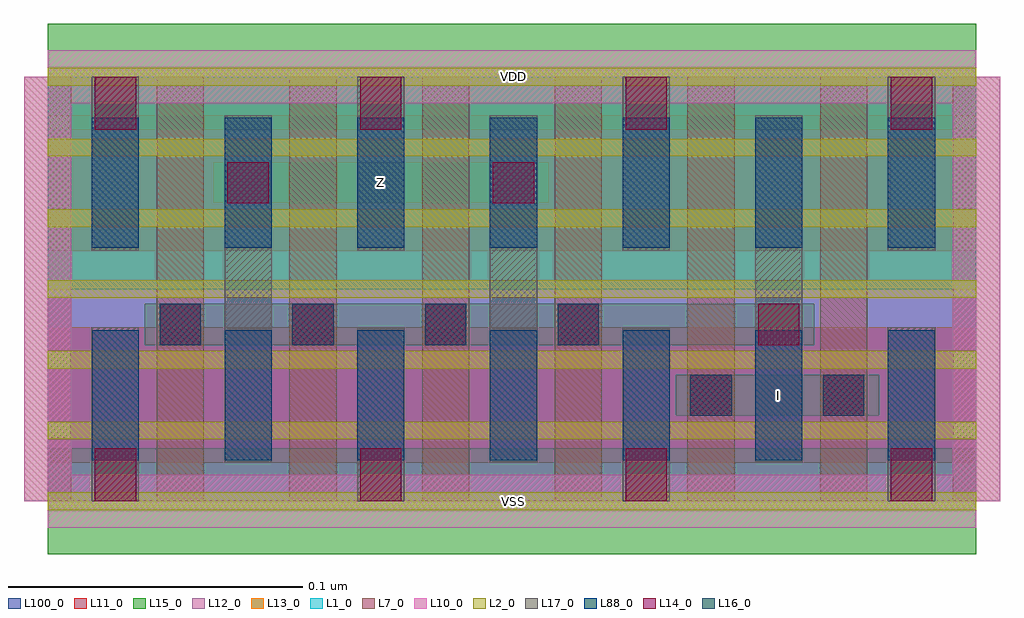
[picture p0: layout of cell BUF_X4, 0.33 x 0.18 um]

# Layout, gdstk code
import gdstk
lib = gdstk.Library(unit=1e-6, precision=1e-09)
def R(c, l, rs):  # rectangles x0, y0, x1, y1
    for r in rs: c.add(gdstk.rectangle(r[:2], r[2:], *l))
def A(c, l, x, y, w, h, nx, ny, dx, dy):  # array of equal rectangles
    R(c, l, [(x+i*dx, y+j*dy, x+i*dx+w, y+j*dy+h) for i in range(nx) for j in range(ny)])
def P(c, l, *ps):  # polygons
    for p in ps: c.add(gdstk.Polygon(p, *l))
L1_0 = (1, 0)
L2_0 = (2, 0)
L7_0 = (7, 0)
L10_0 = (10, 0)
L11_0 = (11, 0)
L12_0 = (12, 0)
L13_0 = (13, 0)
L14_0 = (14, 0)
L15_0 = (15, 0)
L16_0 = (16, 0)
L17_0 = (17, 0)
L88_0 = (88, 0)
L100_0 = (100, 0)

buf_x4 = lib.new_cell('BUF_X4')
R(buf_x4, L1_0, [(0,0.072,0.315,0.144)])
A(buf_x4, L2_0, 0, -0.003, 0.315, 0.006, 1, 7, 0, 0.024)
A(buf_x4, L7_0, -0.008, 0, 0.016, 0.144, 8, 1, 0.045, 0)
P(buf_x4, L10_0, [(0,-0.009),(0,0),(-0.008,0),(-0.008,0.135),(0.008,0.135),(0.008,0.009),(0.307,0.009),(0.307,0.135),(-0.008,0.135),(-0.008,0.144),(0,0.144),(0,0.153),(0.315,0.153),(0.315,0.144),(0.323,0.144),(0.323,0),(0.315,0),(0.315,-0.009)])
R(buf_x4, L11_0, [(0,0.013,0.315,0.059), (0,0.085,0.315,0.131)])
R(buf_x4, L12_0, [(0,0,0.315,0.072)])
R(buf_x4, L13_0, [(0,0.072,0.315,0.144)])
A(buf_x4, L14_0, 0.016, 0, 0.014, 0.018, 4, 2, 0.09, 0.126)
A(buf_x4, L14_0, 0.038, 0.053, 0.014, 0.014, 4, 1, 0.045, 0)
R(buf_x4, L14_0, [(0.218,0.029,0.232,0.043), (0.263,0.029,0.277,0.043), (0.241,0.053,0.255,0.067), (0.061,0.101,0.075,0.115), (0.151,0.101,0.165,0.115)])
R(buf_x4, L15_0, [(0,-0.018,0.315,0.018), (0.213,0.029,0.282,0.043), (0.033,0.053,0.26,0.067), (0.056,0.101,0.17,0.115), (0,0.126,0.315,0.162)])
A(buf_x4, L16_0, 0.038, 0.053, 0.014, 0.014, 4, 1, 0.045, 0)
R(buf_x4, L16_0, [(0.218,0.029,0.232,0.043), (0.263,0.029,0.277,0.043)])
A(buf_x4, L17_0, 0.015, 0, 0.016, 0.059, 4, 2, 0.09, 0.085)
A(buf_x4, L17_0, 0.06, 0.013, 0.016, 0.118, 3, 1, 0.09, 0)
A(buf_x4, L88_0, 0.015, 0.014, 0.016, 0.044, 7, 2, 0.045, 0.072)
R(buf_x4, L100_0, [(0,0,0.315,0.144)])
buf_x4.add(gdstk.Label('I', (0.248,0.036), layer=15, texttype=251))
buf_x4.add(gdstk.Label('VSS', (0.158,0), layer=15, texttype=251))
buf_x4.add(gdstk.Label('VDD', (0.158,0.144), layer=15, texttype=251))
buf_x4.add(gdstk.Label('Z', (0.113,0.108), layer=15, texttype=251))
buf_x4.add(gdstk.Label('VSS', (0.158,0), layer=15, texttype=251))
buf_x4.add(gdstk.Label('VDD', (0.158,0.144), layer=15, texttype=251))
buf_x4.add(gdstk.Label('VSS', (0.158,0), layer=3, texttype=251))
buf_x4.add(gdstk.Label('VSS', (0.158,0), layer=3, texttype=251))
buf_x4.add(gdstk.Label('VDD', (0.158,0.144), layer=1, texttype=251))
buf_x4.add(gdstk.Label('VDD', (0.158,0.144), layer=1, texttype=251))

lib.write_gds('BUF_X4.gds')
